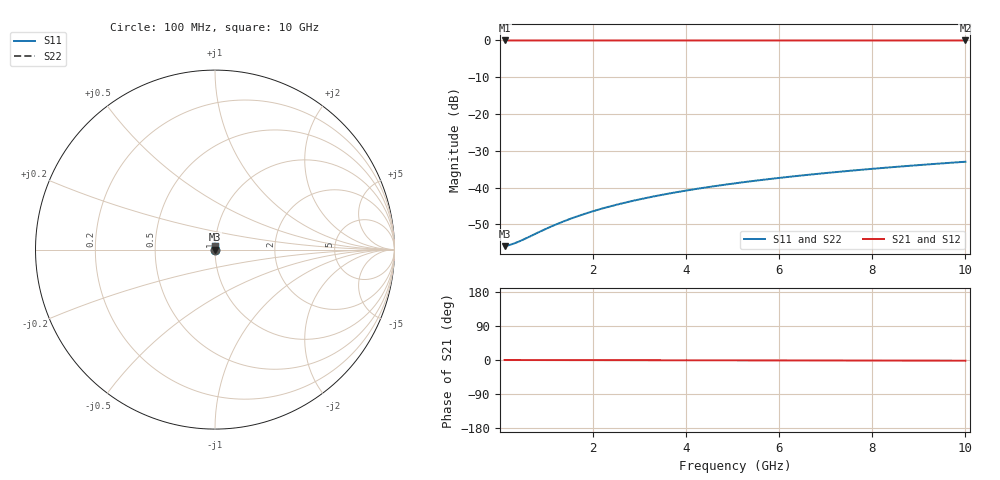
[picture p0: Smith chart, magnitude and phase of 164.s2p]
# Hz S RI R 50.00
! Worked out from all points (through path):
!   100 points, 100 MHz to 10 GHz, reference 50 ohm
!   highest |S21| = -0.01 dB at 100 MHz (marker M1); lowest = 0.0 dB at 10 GHz (marker M2)
!   lowest |S11| = -55.9 dB at 100 MHz (marker M3), VSWR 1.00, Z = 50.2 + j0.0224 ohm
!   |S11| at or under -10 dB: start of sweep to end of sweep
!   |S22| runs from -55.9 to -33.0 dB; largest |S21 - S12| = 0
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1e8  0.00158 0.000223  0.9984 -0.000311  0.9984 -0.000311  0.00158 0.000223
2e8  0.00159 0.000446  0.9984 -0.000623  0.9984 -0.000623  0.00159 0.000446
3e8  0.0016 0.000668  0.9984 -0.000934  0.9984 -0.000934  0.0016 0.000668
4e8  0.0016 0.000891  0.9984 -0.00125  0.9984 -0.00125  0.0016 0.000891
9e8  0.00163 0.00201  0.9984 -0.0028  0.9984 -0.0028  0.00163 0.00201
1.2e9  0.00164 0.00267  0.9984 -0.00374  0.9984 -0.00374  0.00164 0.00267
1.5e9  0.00166 0.00334  0.9983 -0.00467  0.9983 -0.00467  0.00166 0.00334
1.8e9  0.00167 0.00401  0.9983 -0.00561  0.9983 -0.00561  0.00167 0.00401
2.1e9  0.00169 0.00468  0.9983 -0.00654  0.9983 -0.00654  0.00169 0.00468
2.5e9  0.00171 0.00557  0.9983 -0.00779  0.9983 -0.00779  0.00171 0.00557
2.9e9  0.00173 0.00646  0.9983 -0.00903  0.9983 -0.00903  0.00173 0.00646
3.4e9  0.00176 0.00757  0.9982 -0.0106  0.9982 -0.0106  0.00176 0.00757
3.8e9  0.00178 0.00847  0.9982 -0.0118  0.9982 -0.0118  0.00178 0.00847
4.2e9  0.00181 0.00936  0.9982 -0.0131  0.9982 -0.0131  0.00181 0.00936
4.6e9  0.00184 0.0102  0.9981 -0.0143  0.9981 -0.0143  0.00184 0.0102
5.1e9  0.00188 0.0114  0.9981 -0.0159  0.9981 -0.0159  0.00188 0.0114
5.9e9  0.00195 0.0131  0.998 -0.0184  0.998 -0.0184  0.00195 0.0131
6.7e9  0.00203 0.0149  0.9979 -0.0209  0.9979 -0.0209  0.00203 0.0149
7.5e9  0.00212 0.0167  0.9979 -0.0234  0.9979 -0.0234  0.00212 0.0167
8.4e9  0.00223 0.0187  0.9977 -0.0262  0.9977 -0.0262  0.00223 0.0187
9.2e9  0.00233 0.0205  0.9976 -0.0287  0.9976 -0.0287  0.00233 0.0205
1e10  0.00245 0.0223  0.9975 -0.0312  0.9975 -0.0312  0.00245 0.0223
